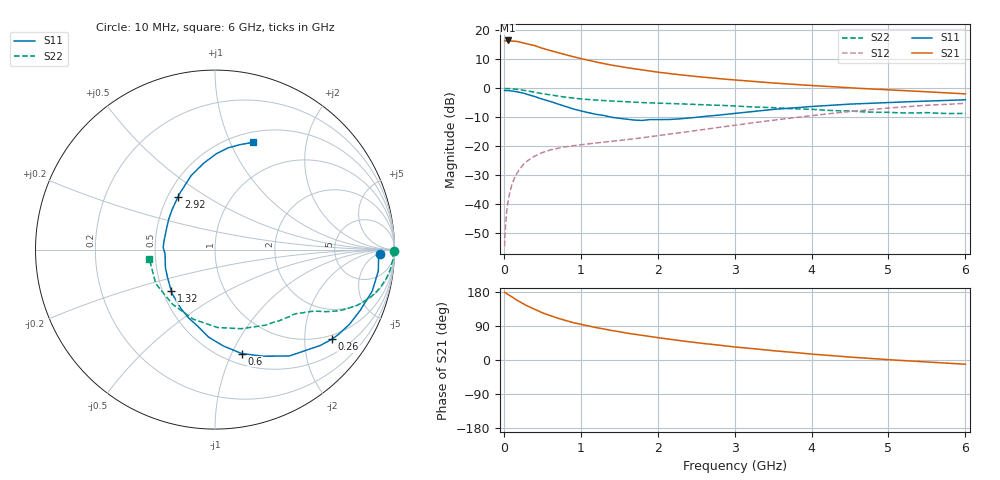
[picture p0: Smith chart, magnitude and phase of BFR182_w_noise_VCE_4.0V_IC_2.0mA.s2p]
! Infineon Technologies  Discrete & RF Semiconductors
! BFR182
! VCE =  4.0 V,  IC =  2.0 mA
! Common Emitter S-Parameters:  Nov 2015
# GHz  S  MA  R  50
!  f  S11  S21  S12  S22
! GHz  MAG  ANG  MAG  ANG  MAG  ANG  MAG  ANG
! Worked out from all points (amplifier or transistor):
!   210 points, 10 MHz to 6 GHz, reference 50 ohm
!   highest |S21| = 16.5 dB at 50 MHz (marker M1)
!   |S21| within 3 dB of that: start of sweep to 539.7 MHz
!   unconditionally stable (mu >= 1): 1.492 GHz to 3.102 GHz
!   at 185 MHz: K = 0.18, MSG = 22.4 dB, |S12| = -28.7 dB
!   at 1.52 GHz: K = 1.01, MAG = 12.1 dB, |S12| = -17.9 dB
!   at 6 GHz: K = 0.89, MSG = 1.6 dB, |S12| = -5.2 dB
!   lowest NFmin = 1.10 dB at 450 MHz
!   S11 on the Smith chart (normalised r, x): 10 MHz: 22, -7; 260 MHz: 0.88, -2.70; 600 MHz: 0.61, -1.09; 1.32 GHz: 0.55, -0.29; 2.92 GHz: 0.57, +0.38; 6 GHz: 0.61, +1.22
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0.01  0.9214 -1.6  6.58 178.9  0.0019 94.1  0.996 -0.6
0.025  0.913 -3.5  6.559 176.7  0.0049 87.9  0.9899 -1.7
0.05  0.9176 -7.5  6.68 173.6  0.0102 85.5  0.9926 -3.2
0.09  0.9071 -13.3  6.561 168.7  0.0186 81.5  0.9854 -5.8
0.15  0.8795 -22.1  6.48 160.2  0.0307 76.7  0.9684 -9.5
0.2  0.8569 -29.1  6.331 154.5  0.0395 73.6  0.9489 -12.3
0.26  0.8212 -37.4  6.009 147.6  0.0494 69.1  0.9243 -15.2
0.3  0.7934 -42.3  5.854 143.2  0.0555 67.0  0.9062 -17.0
0.4  0.7233 -55.0  5.452 133.7  0.0678 61.1  0.8553 -21.1
0.5  0.6515 -65.7  4.9 124.5  0.0779 56.8  0.8084 -24.0
0.6  0.598 -75.6  4.491 117.3  0.0863 53.7  0.7711 -26.2
0.8  0.4888 -94.2  3.802 104.3  0.098 49.9  0.7043 -29.4
0.9  0.4416 -101.7  3.517 98.7  0.1022 49.1  0.6771 -30.5
1.02  0.4029 -112.4  3.214 93.3  0.107 48.6  0.6532 -31.7
1.32  0.3352 -136.7  2.628 81.1  0.1188 49.0  0.6123 -34.7
1.6  0.2939 -160.1  2.266 70.9  0.1304 50.5  0.585 -37.4
2.02  0.2881 169.8  1.884 58.5  0.1534 53.7  0.5562 -42.4
2.92  0.3597 124.7  1.421 36.3  0.2233 56.1  0.5012 -57.5
3.1  0.3806 118.8  1.359 32.6  0.2408 55.5  0.4875 -61.5
4.1  0.4948 95.6  1.096 14.1  0.3496 48.6  0.4252 -91.6
5.1  0.5771 81.4  0.931 -0.4  0.4672 35.9  0.38 -132.3
6  0.6339 70.5  0.801 -11.2  0.55 21.6  0.3696 -172.1
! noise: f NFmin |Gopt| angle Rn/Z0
0.45  1.1  0.42  29  0.36
0.9  1.2  0.4  58  0.3
1.8  1.85  0.32  126  0.22
